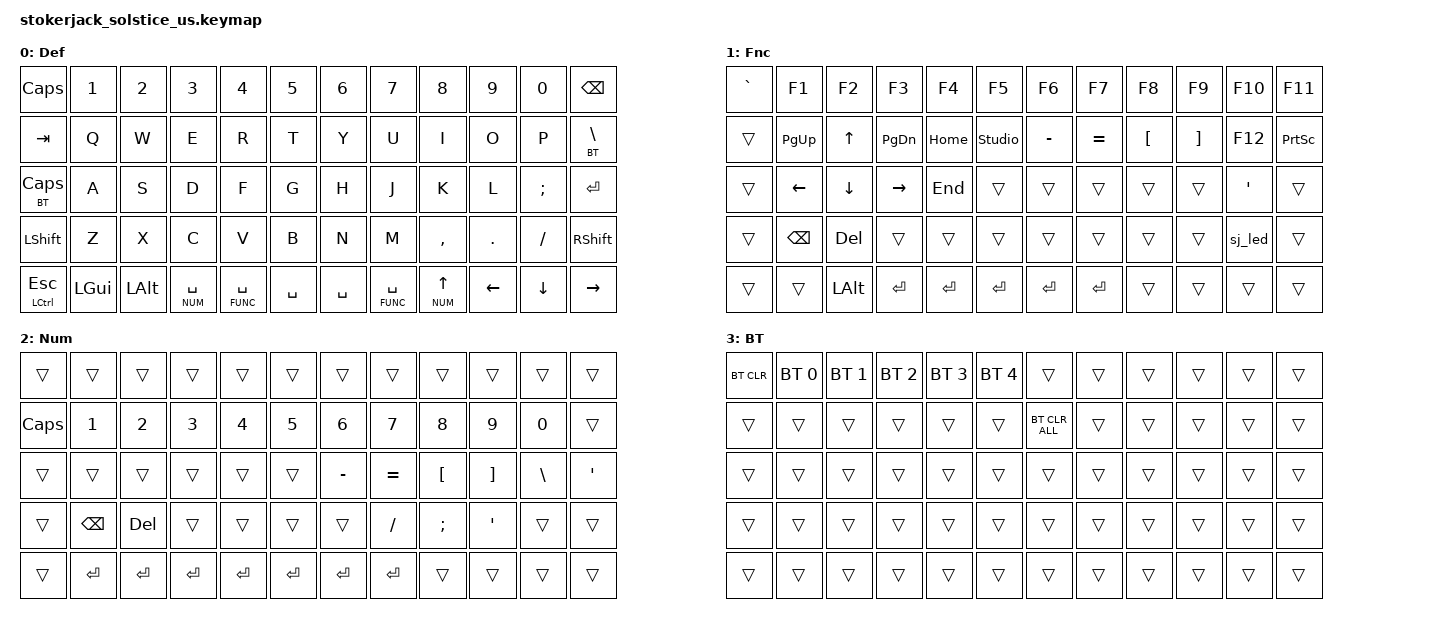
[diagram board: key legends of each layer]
/* GeaconSolstice US adapted to the Stokerjack 5 x 12 physical layout. */
#include <behaviors.dtsi>
#include <behaviors/runtime_macro.dtsi>
#include <dt-bindings/zmk/keys.h>
#include <dt-bindings/zmk/bt.h>

#define FUNC 1
#define NUM 2
#define BT 3

&mt { flavor = "tap-preferred"; };

/ {
    keymap {
        compatible = "zmk,keymap";
        def_layer {
            display-name = "Def";
            bindings = <
                &kp CAPS        &kp N1          &kp N2          &kp N3          &kp N4          &kp N5          &kp N6          &kp N7          &kp N8          &kp N9          &kp N0          &kp BKSP
                &kp TAB         &kp Q           &kp W           &kp E           &kp R           &kp T           &kp Y           &kp U           &kp I           &kp O           &kp P           &lt BT BSLH
                &lt BT CAPS     &kp A           &kp S           &kp D           &kp F           &kp G           &kp H           &kp J           &kp K           &kp L           &kp SEMI        &kp ENTER
                &kp LSHFT       &kp Z           &kp X           &kp C           &kp V           &kp B           &kp N           &kp M           &kp COMMA       &kp DOT         &kp FSLH        &kp RSHFT
                &mt LCTL ESC    &kp LGUI        &kp LALT        &lt NUM SPACE   &lt FUNC SPACE  &kp SPACE       &kp SPACE       &lt FUNC SPACE  &lt NUM UP      &kp LEFT        &kp DOWN        &kp RIGHT
            >;
        };
        fnc_layer {
            display-name = "Fnc";
            bindings = <
                &kp GRAVE       &kp F1          &kp F2          &kp F3          &kp F4          &kp F5          &kp F6          &kp F7          &kp F8          &kp F9          &kp F10         &kp F11
                &trans          &kp PG_UP       &kp UP          &kp PG_DN       &kp HOME        &studio_unlock  &kp MINUS       &kp EQUAL       &kp LBKT        &kp RBKT        &kp F12         &kp PSCRN
                &trans          &kp LEFT        &kp DOWN        &kp RIGHT       &kp END         &trans          &trans          &trans          &trans          &trans          &kp SQT         &trans
                &trans          &kp BKSP        &kp DEL         &trans          &trans          &trans          &trans          &trans          &trans          &trans          &sj_led         &trans
                &trans          &trans          &kp LALT        &kp ENTER       &kp ENTER       &kp ENTER       &kp ENTER       &kp ENTER       &trans          &trans          &trans          &trans
            >;
        };
        num_layer {
            display-name = "Num";
            bindings = <
                &trans          &trans          &trans          &trans          &trans          &trans          &trans          &trans          &trans          &trans          &trans          &trans
                &kp CAPS        &kp N1          &kp N2          &kp N3          &kp N4          &kp N5          &kp N6          &kp N7          &kp N8          &kp N9          &kp N0          &trans
                &trans          &trans          &trans          &trans          &trans          &trans          &kp MINUS       &kp EQUAL       &kp LBKT        &kp RBKT        &kp BSLH        &kp SQT
                &trans          &kp BKSP        &kp DEL         &trans          &trans          &trans          &trans          &kp FSLH        &kp SEMI        &kp SQT         &trans          &trans
                &trans          &kp ENTER       &kp ENTER       &kp ENTER       &kp ENTER       &kp ENTER       &kp ENTER       &kp ENTER       &trans          &trans          &trans          &trans
            >;
        };
        bt_layer {
            display-name = "BT";
            bindings = <
                &bt BT_CLR      &bt BT_SEL 0    &bt BT_SEL 1    &bt BT_SEL 2    &bt BT_SEL 3    &bt BT_SEL 4    &trans          &trans          &trans          &trans          &trans          &trans
                &trans          &trans          &trans          &trans          &trans          &trans          &bt BT_CLR_ALL  &trans          &trans          &trans          &trans          &trans
                &trans          &trans          &trans          &trans          &trans          &trans          &trans          &trans          &trans          &trans          &trans          &trans
                &trans          &trans          &trans          &trans          &trans          &trans          &trans          &trans          &trans          &trans          &trans          &trans
                &trans          &trans          &trans          &trans          &trans          &trans          &trans          &trans          &trans          &trans          &trans          &trans
            >;
        };
    };
};
